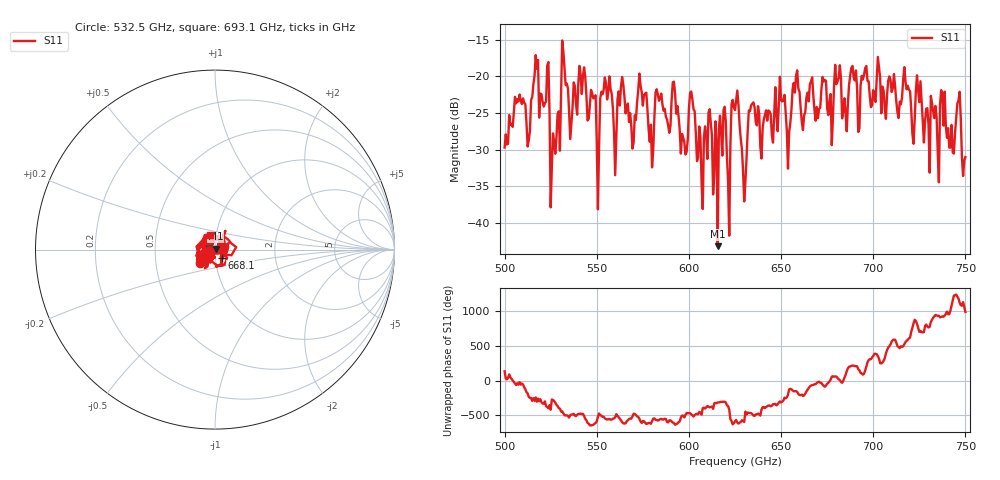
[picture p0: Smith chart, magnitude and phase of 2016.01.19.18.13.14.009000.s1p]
!Created with skrf (http://scikit-rf.org).
# GHz S RI R 50.0
!freq ReS11 ImS11
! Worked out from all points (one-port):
!   401 points, 500 GHz to 750 GHz, reference 50 ohm
!   lowest |S11| = -43.1 dB at 615.6 GHz (marker M1), VSWR 1.01, Z = 50.5 + j0.501 ohm
!   |S11| at or under -10 dB: start of sweep to end of sweep
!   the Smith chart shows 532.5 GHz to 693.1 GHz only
!   S11 on the Smith chart (normalised r, x): 532.5 GHz: 0.83, -0.13; 668.1 GHz: 1.07, -0.10; 693.1 GHz: 0.93, +0.15
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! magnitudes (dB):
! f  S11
! 500 GHz  -29.7
! 513.1 GHz  -28.7
! 516.9 GHz  -17.1
! 523.1 GHz  -18.5
! 526.2 GHz  -27.8
! 531.2 GHz  -15.1
! 532.5 GHz  -18.8
! 550 GHz  -29.0
! 553.8 GHz  -21.8
! 562.5 GHz  -24.0
! 570 GHz  -29.0
! 574.4 GHz  -22.1
! 579.4 GHz  -26.6
! 583.1 GHz  -22.5
! 593.8 GHz  -24.0
! 615.6 GHz  -43.1
! 621.2 GHz  -34.3
! 625 GHz  -24.6
! 630 GHz  -37.0
! 633.8 GHz  -23.9
! 656.2 GHz  -21.7
! 668.1 GHz  -24.6
! 687.5 GHz  -19.9
! 693.1 GHz  -21.3
! 718.8 GHz  -21.3
! 742.5 GHz  -26.6
! 746.2 GHz  -23.3
! 750 GHz  -31.0
